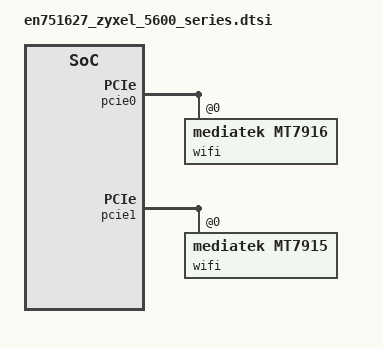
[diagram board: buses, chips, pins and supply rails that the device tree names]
// SPDX-License-Identifier: (GPL-2.0-only OR BSD-2-Clause)
/*
 * Copyright (C) 2026 Alan <alan@Riffraff>
 * Copyright (C) 2026 OpenWrt.org
 *
 * ============================================================================
 * INTERMEDIATE SERIES SUMMARY: ZYXEL EN751627 WI-FI 6 (5600) GENERATION
 * ============================================================================
 * Core Baseline: Inherits en751627_zyxel.dtsi
 * Wireless Driver Target: MediaTek mt79 Modern Multi-User MIMO Frameworks
 * Sub-Fleet Scope: Governs 330x Mainstream, 3100 Extender, and 560x Premium tiers
 */

#include "en751627_zyxel.dtsi"


&usb {
  /* USB 3.0 super-speed controller paths remain fully uninhibited */
  /* Target configuration matching the standard MTK XHCI controller layout */
};

&pcie0 {
	status = "okay";

        pcie-bridge {
                #address-cells = <3>;
                #size-cells = <2>;
                device_type = "pci";

                wifi@0,0 {
                        compatible = "mediatek,mt7916";
                        reg = <0x0000 0 0 0 0>;
                        /* Direct driver to extract its mapping out of the romfile partition block */
                        mediatek,mtd-eeprom = <&nand 0x040600>; 
                };
        };
};

&pcie1 {
	status = "okay";

        pcie-bridge {
                #address-cells = <3>;
                #size-cells = <2>;
                device_type = "pci";

                wifi@0,0 {
                        compatible = "mediatek,mt7915";
                        reg = <0x0000 0 0 0 0>;
                        /* Match the relative offset structure for the second external radio card */
                        mediatek,mtd-eeprom = <&nand 0x044600>;
                };
        };
};

